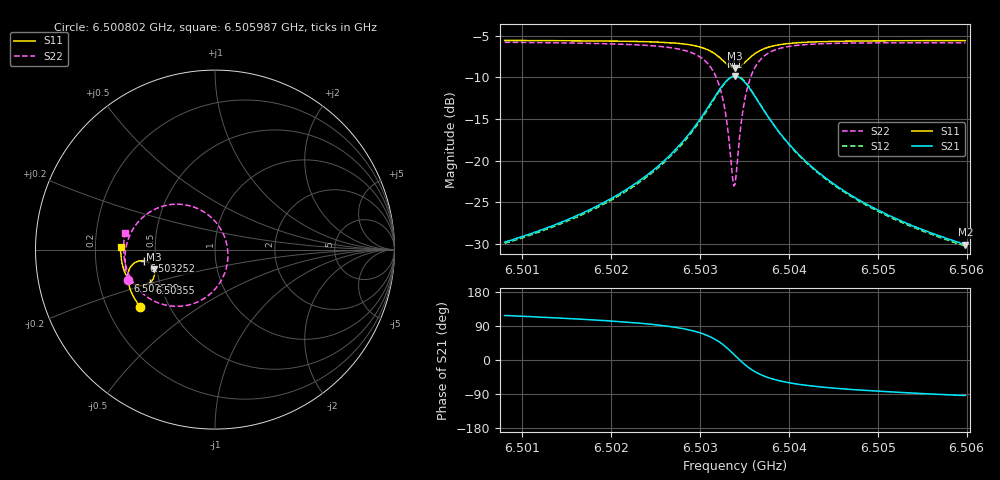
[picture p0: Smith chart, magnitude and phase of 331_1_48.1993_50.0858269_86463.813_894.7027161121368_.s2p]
#  HZ  S  RI  R  50.00
! Rohde & Schwarz Vector Network Analyzer
! Rohde-Schwarz,ZNB20-2Port,1311601062101988,3.16
! Created: UTC 3/20/2024, 11:50:53 AM
! freq[Hz]  re:S11  im:S11  re:S21  im:S21  re:S12  im:S12  re:S22  im:S22
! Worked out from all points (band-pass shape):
!   401 points, 6.500802 GHz to 6.505987 GHz, reference 50 ohm
!   highest |S21| = -9.86 dB at 6.503394 GHz (marker M1); lowest = -30.1 dB at 6.505987 GHz (marker M2)
!   |S21| within 3 dB of the highest: 6.503135 GHz to 6.503653 GHz (518 kHz wide, 0.00797 % of centre)
!   lowest |S11| = -8.9 dB at 6.503394 GHz (marker M3), VSWR 2.11, Z = 24.1 - j6.11 ohm
!   |S11| at or under -10 dB: nowhere
!   |S22| runs from -23.0 to -5.8 dB; largest |S21 - S12| = 0.011
!   S11 on the Smith chart (normalised r, x): 6.500802 GHz: 0.34, -0.30; 6.502539 GHz: 0.33, -0.15; 6.503252 GHz: 0.43, -0.06; 6.50355 GHz: 0.44, -0.20; 6.505987 GHz: 0.31, +0.01
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6.5008023e9  -0.4194 -0.3183  -0.0149 0.0289  -0.0133 0.0289  -0.4855 -0.1674
6.5016707e9  -0.4578 -0.2555  -0.0146 0.0461  -0.0122 0.0458  -0.501 -0.0774
6.5021373e9  -0.4749 -0.2151  -0.0121 0.0644  -0.00915 0.0633  -0.4996 -0.0134
6.5025391e9  -0.485 -0.1719  -0.0033 0.0938  0.000288 0.0916  -0.4815 0.0636
6.5027983e9  -0.4848 -0.1351  0.0152 0.1279  0.019 0.1241  -0.4426 0.1357
6.5029797e9  -0.4737 -0.1021  0.0494 0.1637  0.0526 0.1583  -0.3755 0.2016
6.5031482e9  -0.4395 -0.069  0.1258 0.1966  0.127 0.1903  -0.2351 0.2522
6.5032519e9  -0.3976 -0.0621  0.2099 0.1881  0.2102 0.1827  -0.0888 0.2249
6.5033038e9  -0.3725 -0.0705  0.2575 0.1605  0.2583 0.1558  -0.00963 0.1686
6.5033686e9  -0.3462 -0.0963  0.3042 0.0981  0.3068 0.0932  0.0609 0.0485
6.5033945e9  -0.3401 -0.1105  0.3145 0.0665  0.3173 0.0607  0.0716 -0.0102
6.5034075e9  -0.3381 -0.1181  0.317 0.0501  0.3202 0.0439  0.0721 -0.0401
6.5034593e9  -0.3391 -0.1483  0.3115 -0.0142  0.3141 -0.0228  0.0445 -0.1541
6.5034852e9  -0.344 -0.1619  0.3004 -0.0424  0.3023 -0.0523  0.0154 -0.2019
6.50355e9  -0.3649 -0.1871  0.2588 -0.0955  0.2574 -0.1064  -0.0786 -0.2826
6.5036537e9  -0.4034 -0.2017  0.1858 -0.131  0.1806 -0.1401  -0.2249 -0.3159
6.5038222e9  -0.4487 -0.1921  0.106 -0.1283  0.0993 -0.1332  -0.3685 -0.2705
6.5040037e9  -0.4757 -0.1706  0.0627 -0.1089  0.0566 -0.111  -0.4389 -0.2068
6.5042629e9  -0.4962 -0.1406  0.0333 -0.0853  0.0287 -0.0859  -0.4817 -0.1359
6.5046776e9  -0.5124 -0.0983  0.0138 -0.0616  0.0108 -0.0612  -0.5043 -0.0576
6.5051313e9  -0.5211 -0.0569  0.00494 -0.0466  0.00276 -0.046  -0.5097 0.00389
6.5059867e9  -0.5258 0.015  -0.00197 -0.0313  -0.00351 -0.0306  -0.5011 0.0926
